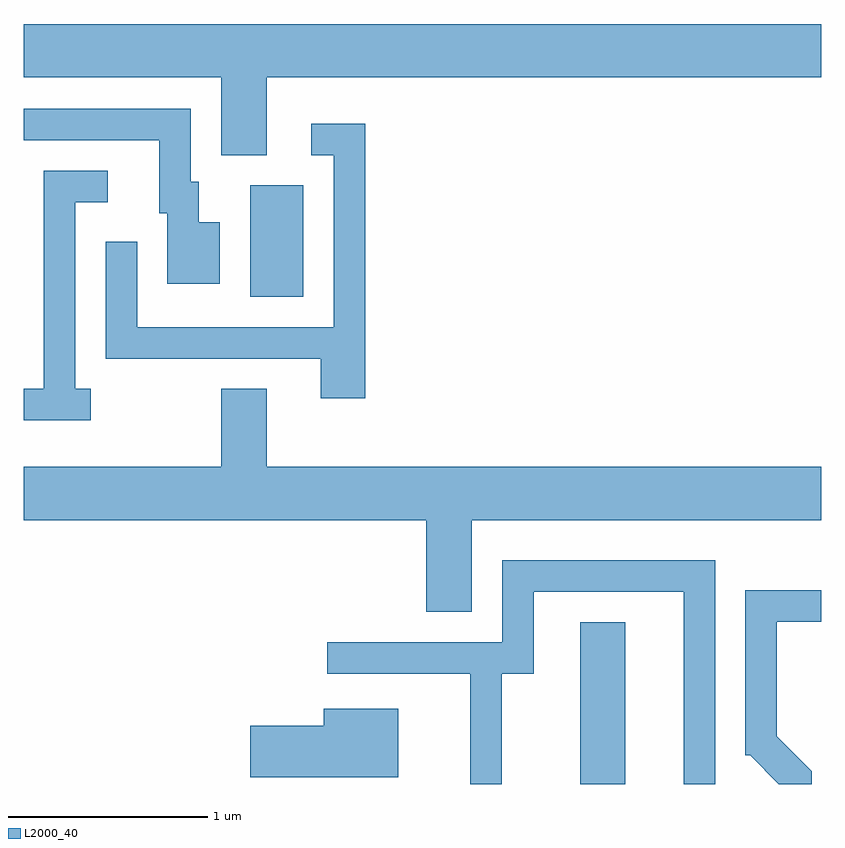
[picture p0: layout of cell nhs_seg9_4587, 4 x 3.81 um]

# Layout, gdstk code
import gdstk
lib = gdstk.Library(unit=1e-6, precision=1e-09)
def R(c, l, rs):  # rectangles x0, y0, x1, y1
    for r in rs: c.add(gdstk.rectangle(r[:2], r[2:], *l))
def P(c, l, *ps):  # polygons
    for p in ps: c.add(gdstk.Polygon(p, *l))
L2000_40 = (2000, 40)

nhs_seg9_4587 = lib.new_cell('nhs_seg9_4587')
R(nhs_seg9_4587, L2000_40, [(322.401,2050.432,322.629,2051.244), (320.746,2052.876,321.014,2053.434)])
P(nhs_seg9_4587, L2000_40, [(320.829,2053.976),(323.611,2053.976),(323.611,2054.244),(319.611,2054.244),(319.611,2053.976),(320.601,2053.976),(320.601,2053.586),(320.829,2053.586)],
  [(320.594,2053.249),(320.489,2053.249),(320.489,2053.454),(320.449,2053.454),(320.449,2053.819),(319.611,2053.819),(319.611,2053.661),(320.291,2053.661),(320.291,2053.296),(320.331,2053.296),(320.331,2052.941),(320.594,2052.941)],
  [(321.324,2053.744),(321.053,2053.744),(321.053,2053.586),(321.166,2053.586),(321.166,2052.724),(320.179,2052.724),(320.179,2053.153),(320.021,2053.153),(320.021,2052.566),(321.101,2052.566),(321.101,2052.366),(321.324,2052.366)],
  [(319.948,2052.414),(319.869,2052.414),(319.869,2053.351),(320.033,2053.351),(320.033,2053.509),(319.711,2053.509),(319.711,2052.414),(319.611,2052.414),(319.611,2052.256),(319.948,2052.256)],
  [(321.859,2051.756),(323.611,2051.756),(323.611,2052.024),(320.829,2052.024),(320.829,2052.414),(320.601,2052.414),(320.601,2052.024),(319.611,2052.024),(319.611,2051.756),(321.631,2051.756),(321.631,2051.296),(321.859,2051.296)],
  [(322.009,2050.986),(322.169,2050.986),(322.169,2051.396),(322.921,2051.396),(322.921,2050.432),(323.079,2050.432),(323.079,2051.554),(322.011,2051.554),(322.011,2051.144),(321.133,2051.144),(321.133,2050.986),(321.851,2050.986),(321.851,2050.432),(322.009,2050.432)],
  [(323.564,2050.497),(323.389,2050.672),(323.389,2051.246),(323.611,2051.246),(323.611,2051.404),(323.231,2051.404),(323.231,2050.576),(323.254,2050.576),(323.397,2050.432),(323.564,2050.432)],
  [(321.489,2050.809),(321.116,2050.809),(321.116,2050.724),(320.746,2050.724),(320.746,2050.466),(321.489,2050.466)])

lib.write_gds('nhs_seg9_4587.gds')
